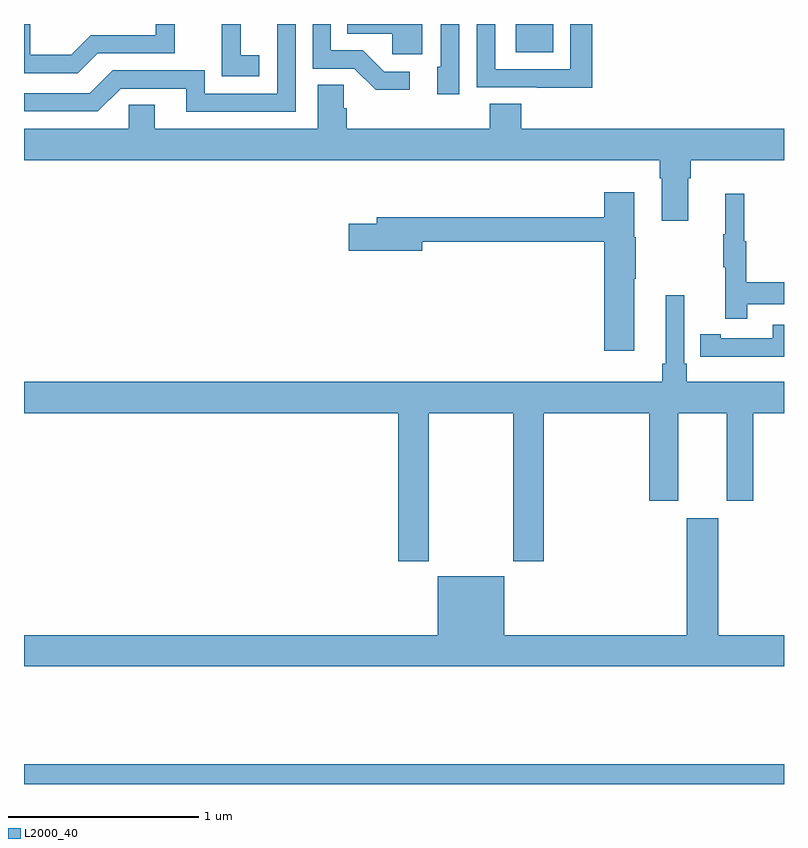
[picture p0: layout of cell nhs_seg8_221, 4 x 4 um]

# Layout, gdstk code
import gdstk
lib = gdstk.Library(unit=1e-6, precision=1e-09)
def R(c, l, rs):  # rectangles x0, y0, x1, y1
    for r in rs: c.add(gdstk.rectangle(r[:2], r[2:], *l))
def P(c, l, *ps):  # polygons
    for p in ps: c.add(gdstk.Polygon(p, *l))
L2000_40 = (2000, 40)

nhs_seg8_221 = lib.new_cell('nhs_seg8_221')
R(nhs_seg8_221, L2000_40, [(125,1095.9,129,1096.004), (127.589,1099.751,127.786,1099.9)])
P(nhs_seg8_221, L2000_40, [(127.29,1099.9),(127.194,1099.9),(127.194,1099.674),(127.175,1099.674),(127.175,1099.53),(127.29,1099.53)],
  [(126.238,1099.735),(126.14,1099.735),(126.14,1099.9),(126.041,1099.9),(126.041,1099.831),(126.04,1099.831),(126.04,1099.625),(126.238,1099.625)],
  [(127.991,1099.9),(127.875,1099.9),(127.875,1099.662),(127.479,1099.662),(127.479,1099.9),(127.383,1099.9),(127.383,1099.566),(127.699,1099.566),(127.699,1099.565),(127.991,1099.565)],
  [(127.03,1099.65),(126.895,1099.65),(126.784,1099.761),(126.615,1099.761),(126.615,1099.9),(126.519,1099.9),(126.519,1099.665),(126.738,1099.665),(126.851,1099.553),(127.03,1099.553)],
  [(127.096,1099.9),(126.7,1099.9),(126.7,1099.85),(126.939,1099.85),(126.939,1099.742),(127.096,1099.742)],
  [(125.389,1099.746),(125.793,1099.746),(125.793,1099.9),(125.694,1099.9),(125.694,1099.842),(125.352,1099.842),(125.248,1099.738),(125.034,1099.738),(125.034,1099.9),(125,1099.9),(125,1099.641),(125.284,1099.641)],
  [(126.429,1099.9),(126.333,1099.9),(126.333,1099.533),(125.952,1099.533),(125.952,1099.656),(125.466,1099.656),(125.346,1099.536),(125,1099.536),(125,1099.44),(125.388,1099.44),(125.508,1099.56),(125.855,1099.56),(125.855,1099.437),(126.429,1099.437)],
  [(128.497,1099.088),(128.51,1099.088),(128.51,1099.184),(129,1099.184),(129,1099.348),(127.616,1099.348),(127.616,1099.481),(127.451,1099.481),(127.451,1099.348),(126.698,1099.348),(126.698,1099.457),(126.684,1099.457),(126.684,1099.58),(126.545,1099.58),(126.545,1099.348),(125.689,1099.348),(125.689,1099.475),(125.55,1099.475),(125.55,1099.348),(125,1099.348),(125,1099.184),(128.345,1099.184),(128.345,1099.088),(128.357,1099.088),(128.357,1098.864),(128.497,1098.864)],
  [(128.212,1098.559),(128.22,1098.559),(128.22,1098.777),(128.212,1098.777),(128.212,1099.015),(128.054,1099.015),(128.054,1098.883),(126.857,1098.883),(126.857,1098.849),(126.708,1098.849),(126.708,1098.707),(127.096,1098.707),(127.096,1098.754),(128.054,1098.754),(128.054,1098.18),(128.212,1098.18)],
  [(128.807,1098.426),(129,1098.426),(129,1098.542),(128.8,1098.542),(128.8,1098.756),(128.792,1098.756),(128.792,1099.006),(128.69,1099.006),(128.69,1098.793),(128.679,1098.793),(128.679,1098.619),(128.69,1098.619),(128.69,1098.348),(128.807,1098.348)],
  [(127.131,1097.852),(127.576,1097.852),(127.576,1097.073),(127.736,1097.073),(127.736,1097.852),(128.291,1097.852),(128.291,1097.391),(128.443,1097.391),(128.443,1097.852),(128.699,1097.852),(128.699,1097.391),(128.839,1097.391),(128.839,1097.852),(129,1097.852),(129,1098.016),(128.489,1098.016),(128.489,1098.112),(128.475,1098.112),(128.475,1098.472),(128.378,1098.472),(128.378,1098.112),(128.359,1098.112),(128.359,1098.016),(125,1098.016),(125,1097.852),(126.971,1097.852),(126.971,1097.073),(127.131,1097.073)],
  [(129,1098.318),(128.94,1098.318),(128.94,1098.246),(128.668,1098.246),(128.668,1098.266),(128.56,1098.266),(128.56,1098.15),(128.668,1098.15),(128.668,1098.149),(129,1098.149)],
  [(129,1096.684),(128.653,1096.684),(128.653,1097.299),(128.489,1097.299),(128.489,1096.684),(127.528,1096.684),(127.528,1096.993),(127.178,1096.993),(127.178,1096.684),(125,1096.684),(125,1096.52),(129,1096.52)])

lib.write_gds('nhs_seg8_221.gds')
